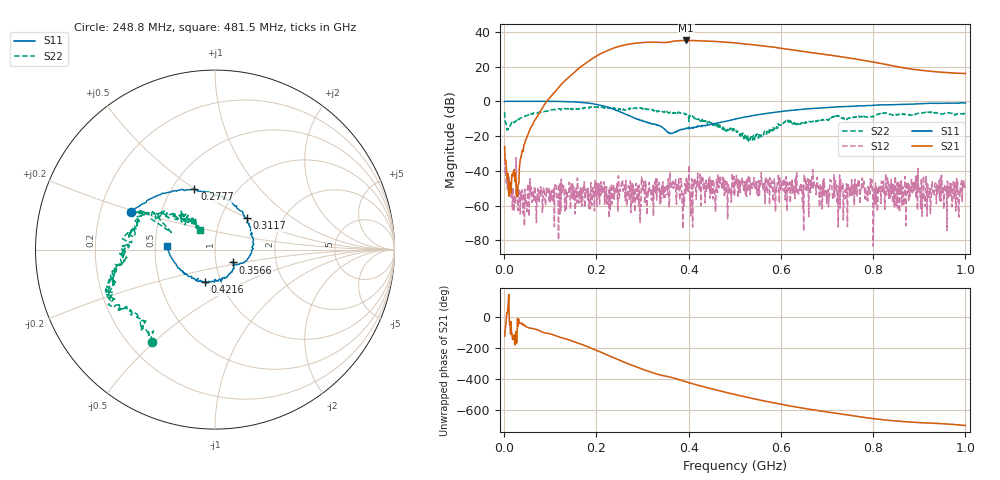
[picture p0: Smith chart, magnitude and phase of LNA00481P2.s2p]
! Created with skrf 1.9.0 (http://scikit-rf.org).
# Hz S RI R 50.0
!freq ReS11 ImS11 ReS21 ImS21 ReS12 ImS12 ReS22 ImS22
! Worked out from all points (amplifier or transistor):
!   1001 points, 1 MHz to 1 GHz, reference 50 ohm
!   highest |S21| = 35.0 dB at 394.6 MHz (marker M1)
!   |S21| within 3 dB of that: 255.5 MHz to 557.7 MHz (302.2 MHz wide, 74.3 % of centre)
!   unconditionally stable (mu >= 1): 216.9 MHz to 297.7 MHz; 297.9 MHz to 400.6 MHz; 400.6 MHz to end of sweep (the widest 3 of 46)
!   at 166.8 MHz: K = 3.15, MAG = 31.2 dB, |S12| = -58.1 dB
!   at 500.5 MHz: K = 1.90, MAG = 34.3 dB, |S12| = -46.0 dB
!   at 1 GHz: K = 3.07, MAG = 24.5 dB, |S12| = -48.5 dB
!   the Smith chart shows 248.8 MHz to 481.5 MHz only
!   S11 on the Smith chart (normalised r, x): 248.8 MHz: 0.33, +0.19; 277.7 MHz: 0.64, +0.50; 311.7 MHz: 1.32, +0.49; 356.6 MHz: 1.21, -0.18; 421.6 MHz: 0.84, -0.31; 481.5 MHz: 0.58, +0.02
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1000000  0.9848 -0.00201  -0.0281 -0.0409  -0.0216 -0.0027  0.352 0.3393
1.08892e8  0.5188 -0.8502  -0.8512 -1.578  -0.000175 -0.000174  0.4433 -0.3745
1.67833e8  -0.2366 -0.8972  -10.29 -0.476  0.00212 -0.0016  0.0576 -0.6366
2.11789e8  -0.6699 -0.3442  -15.38 18.91  -0.00175 -0.00224  -0.2036 -0.6481
2.29771e8  -0.6418 -0.0417  -8.582 29.78  -0.000731 0.000224  -0.2723 -0.5998
2.48752e8  -0.4689 0.2081  5.393 37.52  0.00187 0.00148  -0.3493 -0.513
2.77723e8  -0.1151 0.3366  31.37 33.31  0.00115 0.00417  -0.5639 -0.3208
3.11689e8  0.1758 0.1751  49.21 8.497  -0.000251 0.00184  -0.5648 -0.1438
3.34666e8  0.2032 -0.0187  48.78 -10.9  -0.000446 0.0026  -0.5177 -0.038
3.56644e8  0.1018 -0.0715  45.08 -22.73  -0.00249 0.00175  -0.4445 0.0896
3.72628e8  0.1051 -0.0831  42.25 -34.86  0.00129 0.00135  -0.4377 0.1832
3.94606e8  0.0632 -0.1565  28.31 -48.77  0.00239 0.00518  -0.3822 0.2068
4.21579e8  -0.0564 -0.18  6.96 -54.96  0.0005 0.00315  -0.2325 0.2012
4.49551e8  -0.181 -0.1181  -13.98 -51.7  0.00578 0.000137  -0.1504 0.1909
4.81519e8  -0.2687 0.0185  -31.61 -39.27  0.00332 -0.000261  -0.0813 0.1108
5.005e8  -0.2843 0.1171  -38.15 -29.35  -0.000238 0.00502  -0.108 0.1086
5.39461e8  -0.22 0.3196  -41.64 -8.563  0.00419 -0.00151  -0.0947 -0.00707
5.85415e8  -0.0429 0.4798  -34.39 10.49  0.00159 -0.00562  -0.1756 -0.0508
6.67333e8  0.3313 0.5226  -12.42 21.63  0.00198 -0.00644  -0.2559 -0.0208
7.53247e8  0.6236 0.3621  2.677 16.94  -0.00341 -0.00444  -0.3205 0.0905
8.34166e8  0.7813 0.1454  6.989 8.615  -0.000424 -0.00155  -0.3843 0.2043
1e9  0.816 -0.391  6.042 1.91  0.00322 -0.00192  -0.0506 0.4328
